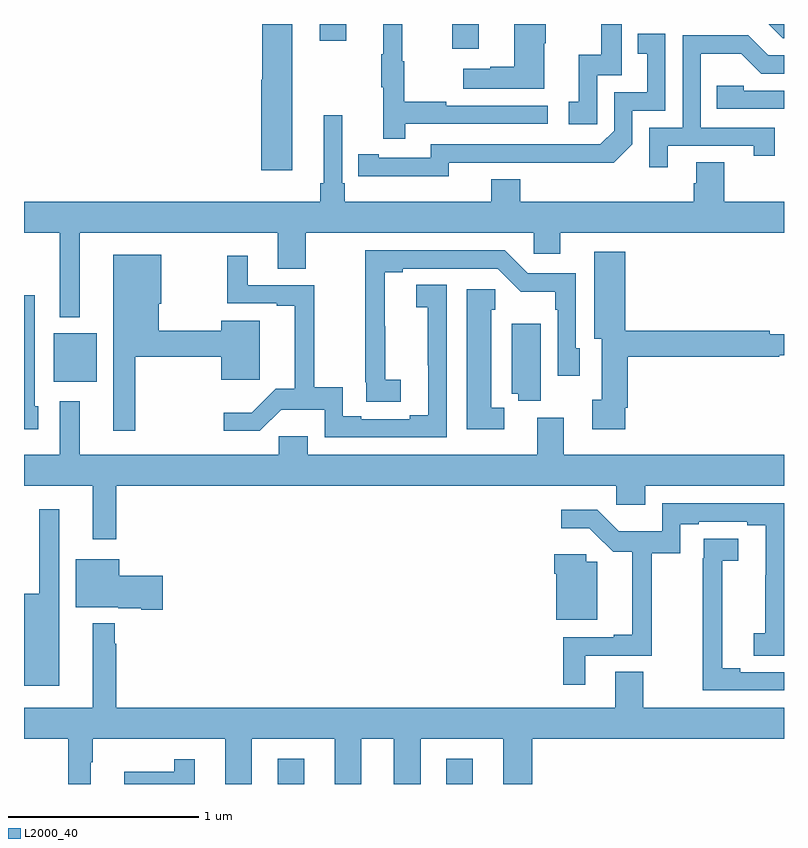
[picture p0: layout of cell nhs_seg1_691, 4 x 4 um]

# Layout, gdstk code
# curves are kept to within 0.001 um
import gdstk
lib = gdstk.Library(unit=1e-6, precision=1e-09)
def R(c, l, rs):  # rectangles x0, y0, x1, y1
    for r in rs: c.add(gdstk.rectangle(r[:2], r[2:], *l))
def P(c, l, *ps):  # polygons
    for p in ps: c.add(gdstk.Polygon(p, *l))
L2000_40 = (2000, 40)

nhs_seg1_691 = lib.new_cell('nhs_seg1_691')
R(nhs_seg1_691, L2000_40, [(150.335,514.199,150.475,514.333), (151.223,514.199,151.363,514.333), (149.156,516.317,149.383,516.571), (151.253,518.07,151.393,518.199), (150.557,518.112,150.697,518.199)])
P(nhs_seg1_691, L2000_40, [(150.412,518.199),(150.254,518.199),(150.254,517.905),(150.248,517.905),(150.248,517.428),(150.412,517.428)],
  [(153,518.199),(152.919,518.199),(152.994,518.124),(153,518.124)],
  [(152.016,517.929),(152.145,517.929),(152.145,518.199),(152.037,518.199),(152.037,518.038),(151.919,518.038),(151.919,517.791),(151.866,517.791),(151.866,517.671),(152.016,517.671)],
  [(151.738,518.099),(151.746,518.099),(151.746,518.199),(151.58,518.199),(151.58,517.973),(151.454,517.973),(151.454,517.963),(151.311,517.963),(151.311,517.859),(151.738,517.859)],
  [(151.007,517.674),(151.756,517.674),(151.756,517.77),(151.223,517.77),(151.223,517.79),(151,517.79),(151,518.004),(150.992,518.004),(150.992,518.199),(150.89,518.199),(150.89,518.041),(150.879,518.041),(150.879,517.867),(150.89,517.867),(150.89,517.596),(151.007,517.596)],
  [(151.236,517.47),(152.104,517.469),(152.202,517.566),(152.202,517.743),(152.376,517.743),(152.376,518.149),(152.23,518.149),(152.23,518.043),(152.279,518.043),(152.279,517.839),(152.106,517.839),(152.106,517.638),(152.034,517.566),(151.14,517.566),(151.14,517.494),(150.868,517.494),(150.868,517.514),(150.76,517.514),(150.76,517.398),(151.236,517.397)],
  [(152.389,517.557),(152.84,517.557),(152.84,517.506),(152.951,517.506),(152.951,517.653),(152.562,517.653),(152.562,518.042),(152.776,518.042),(152.88,517.938),(153,517.938),(153,518.034),(152.917,518.034),(152.812,518.139),(152.466,518.139),(152.466,517.653),(152.292,517.653),(152.292,517.446),(152.389,517.446)],
  [(153,517.848),(152.787,517.848),(152.787,517.875),(152.647,517.875),(152.647,517.752),(153,517.752)],
  [(149.293,517.1),(150.335,517.1),(150.335,516.91),(150.483,516.91),(150.483,517.1),(151.683,517.1),(151.683,516.99),(151.822,516.99),(151.822,517.1),(153,517.1),(153,517.264),(152.685,517.264),(152.685,517.472),(152.537,517.472),(152.537,517.362),(152.525,517.362),(152.525,517.264),(151.613,517.264),(151.613,517.381),(151.46,517.381),(151.46,517.264),(150.689,517.264),(150.689,517.36),(150.675,517.36),(150.675,517.72),(150.578,517.72),(150.578,517.36),(150.559,517.36),(150.559,517.264),(149,517.264),(149,517.1),(149.189,517.1),(149.189,516.656),(149.293,516.656)],
  [(150.982,516.326),(150.9,516.326),(150.898,516.892),(150.994,516.892),(150.994,516.912),(151.494,516.912),(151.615,516.791),(151.797,516.791),(151.797,516.695),(151.809,516.695),(151.809,516.347),(151.926,516.347),(151.926,516.492),(151.905,516.492),(151.905,516.888),(151.65,516.888),(151.53,517.008),(150.796,517.008),(150.796,516.313),(150.802,516.313),(150.802,516.211),(150.982,516.211)],
  [(152.164,516.178),(152.177,516.178),(152.177,516.448),(152.975,516.448),(152.975,516.456),(153,516.456),(153,516.565),(152.924,516.565),(152.924,516.584),(152.164,516.584),(152.164,517),(152,517),(152,516.542),(152.042,516.542),(152.042,516.222),(151.992,516.222),(151.992,516.066),(152.164,516.066)],
  [(149.585,516.448),(150.038,516.448),(150.038,516.327),(150.241,516.327),(150.241,516.637),(150.038,516.637),(150.038,516.584),(149.71,516.584),(149.71,516.726),(149.722,516.726),(149.722,516.985),(149.471,516.985),(149.471,516.057),(149.585,516.057)],
  [(151.224,516.827),(151.065,516.827),(151.065,516.707),(151.126,516.707),(151.127,516.14),(151.031,516.14),(151.031,516.12),(150.775,516.12),(150.775,516.134),(150.678,516.134),(150.678,516.287),(150.527,516.287),(150.527,516.825),(150.178,516.825),(150.178,516.979),(150.069,516.979),(150.069,516.729),(150.329,516.729),(150.329,516.717),(150.425,516.717),(150.425,516.28),(150.325,516.28),(150.199,516.154),(150.051,516.154),(150.051,516.057),(150.24,516.057),(150.353,516.17),(150.582,516.17),(150.582,516.024),(151.224,516.024)],
  [(151.528,516.18),(151.459,516.18),(151.459,516.696),(151.481,516.696),(151.481,516.802),(151.331,516.802),(151.331,516.065),(151.528,516.065)],
  [(149.074,516.186),(149.056,516.186),(149.056,516.772),(149,516.772),(149,516.065),(149.074,516.065)],
  [(151.72,516.621),(151.568,516.621),(151.568,516.254),(151.6,516.254),(151.6,516.217),(151.72,516.217)],
  [(149.485,515.768),(152.118,515.768),(152.118,515.67),(152.269,515.67),(152.269,515.768),(153,515.768),(153,515.932),(151.84,515.932),(151.84,516.127),(151.7,516.127),(151.7,515.932),(150.493,515.932),(150.493,516.03),(150.342,516.03),(150.342,515.932),(149.293,515.932),(149.293,516.214),(149.189,516.214),(149.189,515.932),(149,515.932),(149,515.768),(149.363,515.768),(149.363,515.487),(149.485,515.487)],
  [(151.954,514.875),(152.303,514.875),(152.303,515.413),(152.454,515.413),(152.454,515.566),(152.551,515.566),(152.551,515.58),(152.807,515.58),(152.807,515.56),(152.903,515.56),(152.902,514.993),(152.841,514.993),(152.841,514.873),(153,514.873),(153,515.676),(152.358,515.676),(152.358,515.53),(152.129,515.53),(152.016,515.643),(151.827,515.643),(151.827,515.546),(151.975,515.546),(152.101,515.421),(152.201,515.421),(152.201,514.984),(152.105,514.984),(152.105,514.971),(151.837,514.971),(151.837,514.722),(151.954,514.722)],
  [(149.185,515.644),(149.081,515.644),(149.081,515.2),(149,515.2),(149,514.715),(149.185,514.715)],
  [(153,514.788),(152.77,514.788),(152.77,514.808),(152.674,514.808),(152.674,515.091),(152.676,515.091),(152.676,515.374),(152.758,515.374),(152.758,515.489),(152.578,515.489),(152.578,515.387),(152.572,515.387),(152.572,514.692),(153,514.692)],
  [(152.017,515.368),(151.959,515.368),(151.959,515.409),(151.79,515.409),(151.79,515.306),(151.802,515.306),(151.802,515.063),(152.017,515.063)],
  [(149.731,515.295),(149.5,515.295),(149.5,515.383),(149.273,515.383),(149.273,515.129),(149.496,515.129),(149.496,515.123),(149.618,515.123),(149.618,515.117),(149.731,515.117)],
  [(149.35,514.313),(149.362,514.313),(149.362,514.436),(150.059,514.436),(150.059,514.199),(150.199,514.199),(150.199,514.436),(150.635,514.436),(150.635,514.199),(150.775,514.199),(150.775,514.436),(150.947,514.436),(150.947,514.199),(151.087,514.199),(151.087,514.436),(151.523,514.436),(151.523,514.199),(151.676,514.199),(151.676,514.436),(153,514.436),(153,514.6),(152.259,514.6),(152.259,514.79),(152.111,514.79),(152.111,514.6),(149.485,514.6),(149.485,514.937),(149.477,514.937),(149.477,515.044),(149.363,515.044),(149.363,514.6),(149,514.6),(149,514.436),(149.233,514.436),(149.233,514.199),(149.35,514.199)],
  [(149.899,514.33),(149.79,514.33),(149.79,514.264),(149.528,514.264),(149.528,514.199),(149.899,514.199)])

lib.write_gds('nhs_seg1_691.gds')
